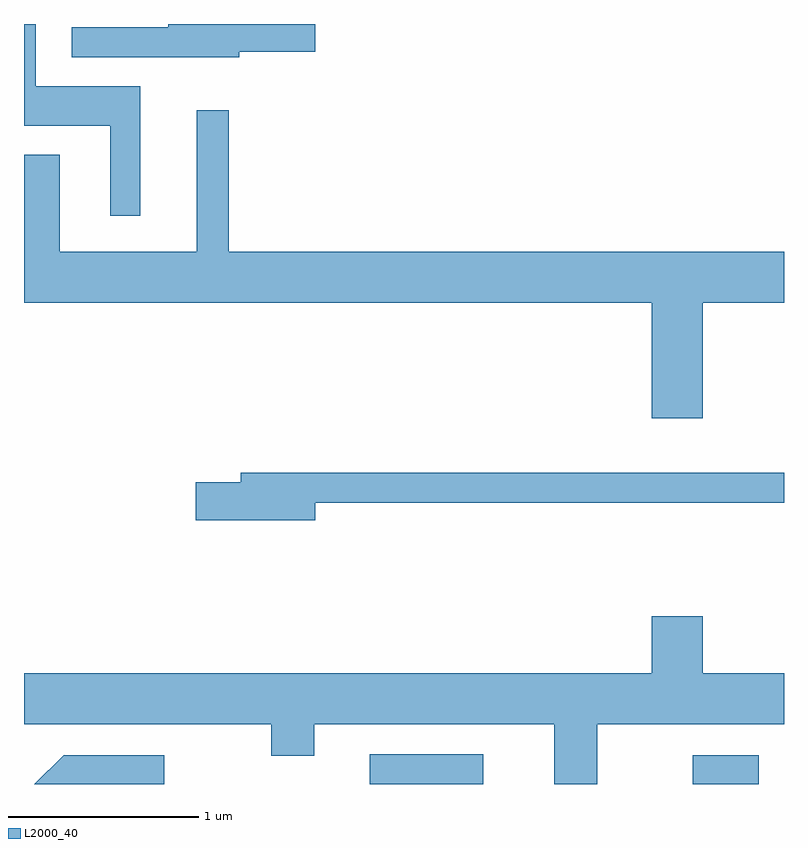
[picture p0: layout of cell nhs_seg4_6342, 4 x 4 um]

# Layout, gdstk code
import gdstk
lib = gdstk.Library(unit=1e-6, precision=1e-09)
def R(c, l, rs):  # rectangles x0, y0, x1, y1
    for r in rs: c.add(gdstk.rectangle(r[:2], r[2:], *l))
def P(c, l, *ps):  # polygons
    for p in ps: c.add(gdstk.Polygon(p, *l))
L2000_40 = (2000, 40)

nhs_seg4_6342 = lib.new_cell('nhs_seg4_6342')
R(nhs_seg4_6342, L2000_40, [(373.431,1289.982,374.028,1290.139), (375.131,1289.982,375.478,1290.134)])
P(nhs_seg4_6342, L2000_40, [(372.224,1293.654),(371.674,1293.654),(371.674,1293.982),(371.611,1293.982),(371.611,1293.446),(372.066,1293.446),(372.066,1292.973),(372.224,1292.973)],
  [(372.744,1293.836),(373.144,1293.836),(373.144,1293.982),(372.371,1293.982),(372.371,1293.964),(371.863,1293.964),(371.863,1293.806),(372.744,1293.806)],
  [(375.184,1292.516),(375.611,1292.516),(375.611,1292.784),(372.689,1292.784),(372.689,1293.528),(372.521,1293.528),(372.521,1292.784),(371.799,1292.784),(371.799,1293.294),(371.611,1293.294),(371.611,1292.516),(374.916,1292.516),(374.916,1291.906),(375.184,1291.906)],
  [(373.144,1291.461),(375.611,1291.461),(375.611,1291.619),(372.751,1291.619),(372.751,1291.569),(372.516,1291.569),(372.516,1291.371),(373.144,1291.371)],
  [(374.629,1290.296),(375.611,1290.296),(375.611,1290.564),(375.184,1290.564),(375.184,1290.864),(374.916,1290.864),(374.916,1290.564),(371.611,1290.564),(371.611,1290.296),(372.911,1290.296),(372.911,1290.131),(373.139,1290.131),(373.139,1290.296),(374.401,1290.296),(374.401,1289.982),(374.629,1289.982)],
  [(372.348,1290.134),(371.819,1290.134),(371.666,1289.982),(372.348,1289.982)])

lib.write_gds('nhs_seg4_6342.gds')
